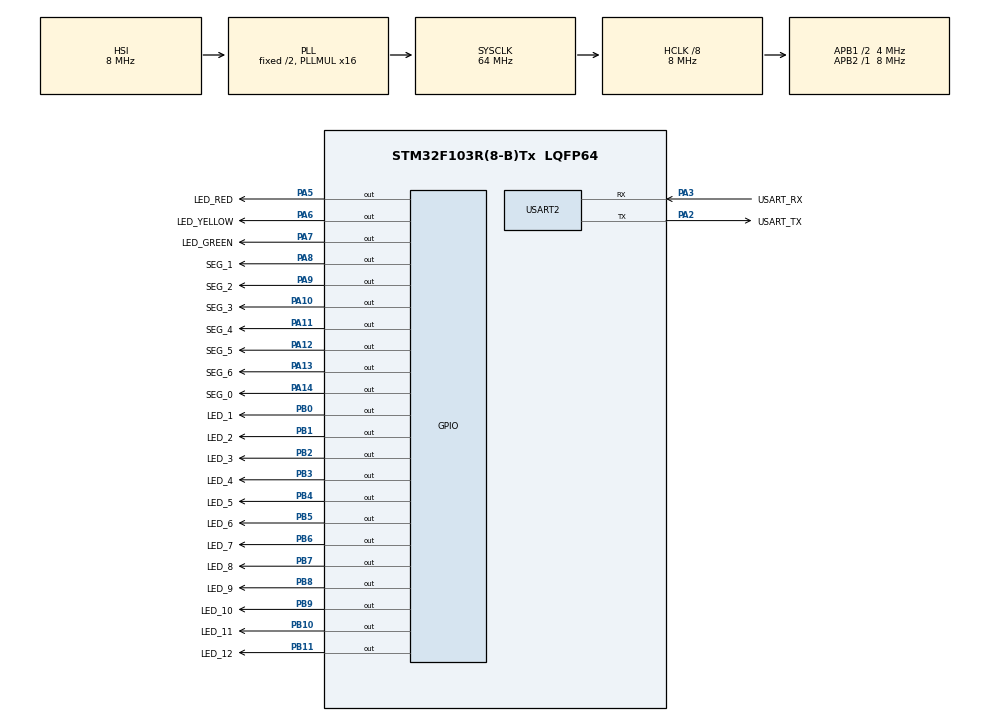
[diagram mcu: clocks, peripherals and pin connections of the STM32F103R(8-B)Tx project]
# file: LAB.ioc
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Mcu.Family=STM32F1
Mcu.Name=STM32F103R(8-B)Tx
Mcu.Package=LQFP64
NVIC.PriorityGroup=NVIC_PRIORITYGROUP_4
PA10.GPIO_Label=SEG_3
PA10.Signal=GPIO_Output
PA11.GPIO_Label=SEG_4
PA11.Signal=GPIO_Output
PA12.GPIO_Label=SEG_5
PA12.Signal=GPIO_Output
PA13.GPIO_Label=SEG_6
PA13.Signal=GPIO_Output
PA14.GPIO_Label=SEG_0
PA14.Signal=GPIO_Output
PA2.GPIO_Label=USART_TX
PA2.GPIO_Mode=GPIO_MODE_AF_PP
PA2.GPIO_PuPd=GPIO_NOPULL
PA2.GPIO_Speed=GPIO_SPEED_FREQ_LOW
PA2.Mode=Asynchronous
PA2.Signal=USART2_TX
PA3.GPIO_Label=USART_RX
PA3.GPIO_Mode=GPIO_MODE_AF_PP
PA3.GPIO_PuPd=GPIO_NOPULL
PA3.GPIO_Speed=GPIO_SPEED_FREQ_LOW
PA3.Mode=Asynchronous
PA3.Signal=USART2_RX
PA5.GPIO_Label=LED_RED
PA5.Signal=GPIO_Output
PA6.GPIO_Label=LED_YELLOW
PA6.Signal=GPIO_Output
PA7.GPIO_Label=LED_GREEN
PA7.Signal=GPIO_Output
PA8.GPIO_Label=SEG_1
PA8.Signal=GPIO_Output
PA9.GPIO_Label=SEG_2
PA9.Signal=GPIO_Output
PB0.GPIO_Label=LED_1
PB0.Signal=GPIO_Output
PB1.GPIO_Label=LED_2
PB1.Signal=GPIO_Output
PB10.GPIO_Label=LED_11
PB10.Signal=GPIO_Output
PB11.GPIO_Label=LED_12
PB11.Signal=GPIO_Output
PB2.GPIO_Label=LED_3
PB2.Signal=GPIO_Output
PB3.GPIO_Label=LED_4
PB3.Signal=GPIO_Output
PB4.GPIO_Label=LED_5
PB4.Signal=GPIO_Output
PB5.GPIO_Label=LED_6
PB5.Signal=GPIO_Output
PB6.GPIO_Label=LED_7
PB6.Signal=GPIO_Output
PB7.GPIO_Label=LED_8
PB7.Signal=GPIO_Output
PB8.GPIO_Label=LED_9
PB8.Signal=GPIO_Output
PB9.GPIO_Label=LED_10
PB9.Signal=GPIO_Output
PC14-OSC32_IN.Signal=RCC_OSC32_IN
PC15-OSC32_OUT.Signal=RCC_OSC32_OUT
PD0-OSC_IN.Signal=RCC_OSC_IN
PD1-OSC_OUT.Signal=RCC_OSC_OUT
ProjectManager.HeapSize=0x200
ProjectManager.StackSize=0x400
ProjectManager.TargetToolchain=STM32CubeIDE
RCC.AHBCLKDivider=RCC_SYSCLK_DIV8
RCC.AHBFreq_Value=8000000
RCC.APB1CLKDivider=RCC_HCLK_DIV2
RCC.APB1Freq_Value=4000000
RCC.APB1TimFreq_Value=8000000
RCC.APB2Freq_Value=8000000
RCC.APB2TimFreq_Value=8000000
RCC.HCLKFreq_Value=8000000
RCC.PLLMUL=RCC_PLL_MUL16
RCC.RTCClockSelection=RCC_RTCCLKSOURCE_LSE
RCC.SYSCLKFreq_VALUE=64000000
RCC.SYSCLKSource=RCC_SYSCLKSOURCE_PLLCLK
RCC.USBFreq_Value=64000000
USART2.VirtualMode=VM_ASYNC
VP_SYS_VS_ND.Mode=No_Debug
board=NUCLEO-F103RB

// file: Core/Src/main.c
/* USER CODE BEGIN Header */
/**
  ******************************************************************************
  * @file           : main.c
  * @brief          : Main program body
  ******************************************************************************
  * @attention
  *
  * Copyright (c) 2024 STMicroelectronics.
  * All rights reserved.
  *
  * This software is licensed under terms that can be found in the LICENSE file
  * in the root directory of this software component.
  * If no LICENSE file comes with this software, it is provided AS-IS.
  *
  ******************************************************************************
  */
/* USER CODE END Header */
#include "main.h"

UART_HandleTypeDef huart2;

void SystemClock_Config(void);
static void MX_GPIO_Init(void);
static void MX_USART2_UART_Init(void);

/* USER CODE BEGIN 0 */
int hour_num = 3;
int minute_num = 59;
int second_num = 50;

int *hour = &hour_num;
int *minute = &minute_num;
int *second = &second_num;

void exercise1() {
	HAL_GPIO_TogglePin(GPIOA, LED_RED_Pin);
	HAL_Delay(2000);
	HAL_GPIO_TogglePin(GPIOA, LED_YELLOW_Pin);
}
void exercise2() {
	static uint8_t count = 0;
	if (count <= 5) {
		HAL_GPIO_WritePin(GPIOA, LED_RED_Pin, GPIO_PIN_SET);
		HAL_GPIO_WritePin(GPIOA, LED_YELLOW_Pin, GPIO_PIN_RESET);
		HAL_GPIO_WritePin(GPIOA, LED_GREEN_Pin, GPIO_PIN_RESET);
	} else if (count <= 7) {
		HAL_GPIO_WritePin(GPIOA, LED_RED_Pin, GPIO_PIN_RESET);
		HAL_GPIO_WritePin(GPIOA, LED_YELLOW_Pin, GPIO_PIN_SET);
		HAL_GPIO_WritePin(GPIOA, LED_GREEN_Pin, GPIO_PIN_RESET);
	} else if (count <= 10) {
		HAL_GPIO_WritePin(GPIOA, LED_RED_Pin, GPIO_PIN_RESET);
		HAL_GPIO_WritePin(GPIOA, LED_YELLOW_Pin, GPIO_PIN_RESET);
		HAL_GPIO_WritePin(GPIOA, LED_GREEN_Pin, GPIO_PIN_SET);
	} else {
		count = 0;
	}
	count++;
	HAL_Delay(1000);
}

void set_light(GPIO_TypeDef *GPIOx, uint16_t red, uint16_t yellow,
		uint16_t green, uint8_t state) {
	if (state == 0) {
		HAL_GPIO_WritePin(GPIOx, red, GPIO_PIN_SET);
		HAL_GPIO_WritePin(GPIOx, yellow | green,
				GPIO_PIN_RESET);
	} else if (state == 1) {
		HAL_GPIO_WritePin(GPIOx, yellow, GPIO_PIN_SET);
		HAL_GPIO_WritePin(GPIOx, red | green, GPIO_PIN_RESET);
	} else if (state == 2) {
		HAL_GPIO_WritePin(GPIOx, green, GPIO_PIN_SET);
		HAL_GPIO_WritePin(GPIOx, red | yellow, GPIO_PIN_RESET);
	}
}
void led_off() {
	/*Configure GPIO pin Output Level */
	HAL_GPIO_WritePin(GPIOA,
			LED_RED_Pin | LED_YELLOW_Pin | LED_GREEN_Pin | SEG_1_Pin | SEG_2_Pin
					| SEG_3_Pin | SEG_4_Pin | SEG_5_Pin | SEG_6_Pin,
			GPIO_PIN_SET);

	/*Configure GPIO pin Output Level */
	HAL_GPIO_WritePin(GPIOB,
			LED_1_Pin | LED_2_Pin | LED_3_Pin | LED_11_Pin | LED_12_Pin
					| LED_4_Pin | LED_5_Pin | LED_6_Pin | LED_7_Pin | LED_8_Pin
					| LED_9_Pin | LED_10_Pin, GPIO_PIN_RESET);
}
void exercise3() {
	static uint8_t count = 0;
	static uint8_t state = 0;
	static uint8_t direction = 0;

	led_off();

	if (direction == 0) {
		set_light(GPIOC, LED_11_Pin, LED_12_Pin,
		LED_1_Pin, state);
	} else if (direction == 1) {
		set_light(GPIOC, LED_2_Pin, LED_3_Pin,
		LED_4_Pin, state);
	} else if (direction == 2) {
		set_light(GPIOC, LED_5_Pin, LED_6_Pin,
		LED_7_Pin, state);
	} else if (direction == 3) {
		set_light(GPIOC, LED_8_Pin, LED_9_Pin,
		LED_10_Pin, state);
	}

	if (count < 5) {
		state = 0;
	} else if (count < 7) {
		state = 1;
	} else if (count < 10) {
		state = 2;
	} else {
		count = 0;
		direction = (direction + 1) % 4;
	}
	count++;
}

void display7SEG(uint8_t num) {
	HAL_GPIO_WritePin(GPIOA, SEG_0_Pin |
	SEG_1_Pin | SEG_2_Pin | SEG_3_Pin | SEG_4_Pin | SEG_5_Pin | SEG_6_Pin,
			GPIO_PIN_SET);
	switch (num) {
	case 0:
		HAL_GPIO_WritePin(GPIOA,
				SEG_0_Pin | SEG_1_Pin | SEG_2_Pin | SEG_3_Pin | SEG_4_Pin
						| SEG_5_Pin,
				GPIO_PIN_RESET);
		break;
	case 1:
		HAL_GPIO_WritePin(GPIOA, SEG_1_Pin | SEG_2_Pin, GPIO_PIN_RESET);
		break;
	case 2:
		HAL_GPIO_WritePin(GPIOA,
				SEG_0_Pin | SEG_1_Pin | SEG_3_Pin | SEG_4_Pin | SEG_6_Pin,
				GPIO_PIN_RESET);
		break;
	case 3:
		HAL_GPIO_WritePin(GPIOA,
		SEG_0_Pin | SEG_1_Pin | SEG_2_Pin | SEG_3_Pin | SEG_6_Pin,
				GPIO_PIN_RESET);
		break;
	case 4:
		HAL_GPIO_WritePin(GPIOA,
		SEG_1_Pin | SEG_2_Pin | SEG_5_Pin | SEG_6_Pin, GPIO_PIN_RESET);
		break;
	case 5:
		HAL_GPIO_WritePin(GPIOA,
				SEG_0_Pin | SEG_2_Pin | SEG_3_Pin | SEG_5_Pin | SEG_6_Pin,
				GPIO_PIN_RESET);
		break;
	case 6:
		HAL_GPIO_WritePin(GPIOA,
		SEG_0_Pin | SEG_2_Pin | SEG_3_Pin | SEG_4_Pin | SEG_5_Pin
						| SEG_6_Pin,
				GPIO_PIN_RESET);
		break;
	case 7:
		HAL_GPIO_WritePin(GPIOA, SEG_0_Pin | SEG_1_Pin | SEG_2_Pin,
				GPIO_PIN_RESET);
		break;
	case 8:
		HAL_GPIO_WritePin(GPIOA,
				SEG_0_Pin | SEG_1_Pin | SEG_2_Pin | SEG_3_Pin | SEG_4_Pin
						| SEG_5_Pin | SEG_6_Pin, GPIO_PIN_RESET);
		break;
	case 9:
		HAL_GPIO_WritePin(GPIOA,
				SEG_0_Pin | SEG_1_Pin | SEG_2_Pin | SEG_3_Pin | SEG_5_Pin
						| SEG_6_Pin,
				GPIO_PIN_RESET);
		break;
	default:
		//HAL_GPIO_WritePin(SEG_PORT, SEG_A_Pin | SEG_B_Pin | SEG_C_Pin | SEG_D_Pin |SEG_E_Pin | SEG_F_Pin | SEG_G_Pin, GPIO_PIN_RESET);
		break;
	}
}
void exercise5() {
	static uint8_t count = 0;
	static uint8_t state1 = 0;
	static uint8_t state2 = 0;

	if (count < 5) { //  do 1 //xanh 2
		state1 = 0;
		state2 = 2;
	} else if (count < 7) { //vang 1 //xanh 2
		state1 = 1;
		state2 = 2;
	} else if (count < 12) { // xanh 1 // do 2
		state1 = 2;
		state2 = 0;
	} else if (count < 14) { // xanh 1 // vang 2
		state1 = 2;
		state2 = 1;
	} else {
		count = 0;
	}

	set_light(GPIOB, LED_11_Pin, LED_12_Pin, LED_1_Pin, state1);
	set_light(GPIOB, LED_5_Pin, LED_6_Pin, LED_7_Pin, state1);

	set_light(GPIOB, LED_2_Pin, LED_3_Pin, LED_4_Pin, state2);
	set_light(GPIOB, LED_8_Pin, LED_9_Pin, LED_10_Pin, state2);

	display7SEG(5 - count % 5);
	count++;
}

void exercise6() {
	HAL_GPIO_WritePin(GPIOC,
			LED_1_Pin | LED_2_Pin | LED_3_Pin | LED_4_Pin | LED_5_Pin
					| LED_6_Pin | LED_7_Pin | LED_8_Pin | LED_9_Pin | LED_10_Pin
					| LED_11_Pin | LED_12_Pin, GPIO_PIN_RESET);
}
void clearAllClock() {
	HAL_GPIO_WritePin(GPIOC,
			LED_1_Pin | LED_2_Pin | LED_3_Pin | LED_4_Pin | LED_5_Pin
					| LED_6_Pin | LED_7_Pin | LED_8_Pin | LED_9_Pin | LED_10_Pin
					| LED_11_Pin | LED_12_Pin, GPIO_PIN_SET);
}
void setNumberOnClock(int num) {
	switch (num) {
	case 0:
		HAL_GPIO_WritePin(GPIOB, LED_12_Pin, GPIO_PIN_SET);
		break;
	case 1:
		HAL_GPIO_WritePin(GPIOB, LED_1_Pin, GPIO_PIN_SET);
		break;
	case 2:
		HAL_GPIO_WritePin(GPIOB, LED_2_Pin, GPIO_PIN_SET);
		break;
	case 3:
		HAL_GPIO_WritePin(GPIOB, LED_3_Pin, GPIO_PIN_SET);
		break;
	case 4:
		HAL_GPIO_WritePin(GPIOB, LED_4_Pin, GPIO_PIN_SET);
		break;
	case 5:
		HAL_GPIO_WritePin(GPIOB, LED_5_Pin, GPIO_PIN_SET);
		break;
	case 6:
		HAL_GPIO_WritePin(GPIOB, LED_6_Pin, GPIO_PIN_SET);
		break;
	case 7:
		HAL_GPIO_WritePin(GPIOB, LED_7_Pin, GPIO_PIN_SET);
		break;
	case 8:
		HAL_GPIO_WritePin(GPIOB, LED_8_Pin, GPIO_PIN_SET);
		break;
	case 9:
		HAL_GPIO_WritePin(GPIOB, LED_9_Pin, GPIO_PIN_SET);
		break;
	case 10:
		HAL_GPIO_WritePin(GPIOB, LED_10_Pin, GPIO_PIN_SET);
		break;
	case 11:
		HAL_GPIO_WritePin(GPIOB, LED_11_Pin, GPIO_PIN_SET);
		break;
	default:
		break;
	}
}
void exercis9(int num) {
	switch (num) {
	case 0:
		HAL_GPIO_WritePin(GPIOB, LED_12_Pin, GPIO_PIN_RESET);
		break;
	case 1:
		HAL_GPIO_WritePin(GPIOB, LED_1_Pin, GPIO_PIN_RESET);
		break;
	case 2:
		HAL_GPIO_WritePin(GPIOB, LED_2_Pin, GPIO_PIN_RESET);
		break;
	case 3:
		HAL_GPIO_WritePin(GPIOB, LED_3_Pin, GPIO_PIN_RESET);
		break;
	case 4:
		HAL_GPIO_WritePin(GPIOB, LED_4_Pin, GPIO_PIN_RESET);
		break;
	case 5:
		HAL_GPIO_WritePin(GPIOB, LED_5_Pin, GPIO_PIN_RESET);
		break;
	case 6:
		HAL_GPIO_WritePin(GPIOB, LED_6_Pin, GPIO_PIN_RESET);
		break;
	case 7:
		HAL_GPIO_WritePin(GPIOB, LED_7_Pin, GPIO_PIN_RESET);
		break;
	case 8:
		HAL_GPIO_WritePin(GPIOB, LED_8_Pin, GPIO_PIN_RESET);
		break;
	case 9:
		HAL_GPIO_WritePin(GPIOB, LED_9_Pin, GPIO_PIN_RESET);
		break;
	case 10:
		HAL_GPIO_WritePin(GPIOB, LED_10_Pin, GPIO_PIN_RESET);
		break;
	case 11:
		HAL_GPIO_WritePin(GPIOB, LED_11_Pin, GPIO_PIN_RESET);
		break;
	default:
		break;
	}
}
void exercis10(int *hour, int *minute, int *second) {
	if (*second >= 60) {
		exercis9((*second - 5) / 5);
		(*second) = 0;
		(*minute)++;
	}
	setNumberOnClock((*second) / 5);
	if (*second / 5 != (*minute) / 5 + 1 && (*second) / 5 != (*hour) + 1) {
		exercis9(((*second) - 5) / 5);
	}

	if ((*minute) >= 60) {
		exercis9(((*minute) - 5) / 5);
		(*minute) = 0;
		(*hour)++;
	}
	setNumberOnClock((*minute) / 5);
	if (*minute / 5 != (*second) / 5 + 1 && (*second) / 5 != (*hour) + 1) {
		exercis9(((*minute) - 5) / 5);
	}

	if (*hour >= 12) {
		exercis9((*hour) - 1);
		(*hour) = 0;
		(*minute) = 0;
		*second = 0;
	}
	setNumberOnClock(*hour);
	if ((*hour) != (*minute) / 5 + 1 && (*hour) != (*second) / 5 + 1) {
		exercis9((*hour) - 1);
	}
	(*second)++;
}
/* USER CODE END 0 */

int main(void)
{

  /* MCU Configuration--------------------------------------------------------*/

  /* Reset of all peripherals, Initializes the Flash interface and the Systick. */
  HAL_Init();

  /* Configure the system clock */
  SystemClock_Config();

  /* Initialize all configured peripherals */
  MX_GPIO_Init();
  MX_USART2_UART_Init();
  /* USER CODE BEGIN 2 */
	clearAllClock();
	//led_off();
  /* USER CODE END 2 */

  /* Infinite loop */
  while (1)
  {

    /* USER CODE BEGIN 3 */
		//exercise5();
		exercis10(hour, minute, second);
		HAL_Delay(100);
  }
  /* USER CODE END 3 */
}

void SystemClock_Config(void)
{
  RCC_OscInitTypeDef RCC_OscInitStruct = {0};
  RCC_ClkInitTypeDef RCC_ClkInitStruct = {0};

  /** Initializes the RCC Oscillators according to the specified parameters
  * in the RCC_OscInitTypeDef structure.
  */
  RCC_OscInitStruct.OscillatorType = RCC_OSCILLATORTYPE_HSI;
  RCC_OscInitStruct.HSIState = RCC_HSI_ON;
  RCC_OscInitStruct.HSICalibrationValue = RCC_HSICALIBRATION_DEFAULT;
  RCC_OscInitStruct.PLL.PLLState = RCC_PLL_ON;
  RCC_OscInitStruct.PLL.PLLSource = RCC_PLLSOURCE_HSI_DIV2;
  RCC_OscInitStruct.PLL.PLLMUL = RCC_PLL_MUL16;
  if (HAL_RCC_OscConfig(&RCC_OscInitStruct) != HAL_OK)
  {
    Error_Handler();
  }

  /** Initializes the CPU, AHB and APB buses clocks
  */
  RCC_ClkInitStruct.ClockType = RCC_CLOCKTYPE_HCLK|RCC_CLOCKTYPE_SYSCLK
                              |RCC_CLOCKTYPE_PCLK1|RCC_CLOCKTYPE_PCLK2;
  RCC_ClkInitStruct.SYSCLKSource = RCC_SYSCLKSOURCE_PLLCLK;
  RCC_ClkInitStruct.AHBCLKDivider = RCC_SYSCLK_DIV8;
  RCC_ClkInitStruct.APB1CLKDivider = RCC_HCLK_DIV2;
  RCC_ClkInitStruct.APB2CLKDivider = RCC_HCLK_DIV1;

  if (HAL_RCC_ClockConfig(&RCC_ClkInitStruct, FLASH_LATENCY_2) != HAL_OK)
  {
    Error_Handler();
  }
}

static void MX_USART2_UART_Init(void)
{

  huart2.Instance = USART2;
  huart2.Init.BaudRate = 115200;
  huart2.Init.WordLength = UART_WORDLENGTH_8B;
  huart2.Init.StopBits = UART_STOPBITS_1;
  huart2.Init.Parity = UART_PARITY_NONE;
  huart2.Init.Mode = UART_MODE_TX_RX;
  huart2.Init.HwFlowCtl = UART_HWCONTROL_NONE;
  huart2.Init.OverSampling = UART_OVERSAMPLING_16;
  if (HAL_UART_Init(&huart2) != HAL_OK)
  {
    Error_Handler();
  }

}

static void MX_GPIO_Init(void)
{
  GPIO_InitTypeDef GPIO_InitStruct = {0};

  /* GPIO Ports Clock Enable */
  __HAL_RCC_GPIOC_CLK_ENABLE();
  __HAL_RCC_GPIOD_CLK_ENABLE();
  __HAL_RCC_GPIOA_CLK_ENABLE();
  __HAL_RCC_GPIOB_CLK_ENABLE();

  /*Configure GPIO pin Output Level */
  HAL_GPIO_WritePin(GPIOA, LED_RED_Pin|LED_YELLOW_Pin|LED_GREEN_Pin|SEG_1_Pin
                          |SEG_2_Pin|SEG_3_Pin|SEG_4_Pin|SEG_5_Pin
                          |SEG_6_Pin|SEG_0_Pin, GPIO_PIN_RESET);

  /*Configure GPIO pin Output Level */
  HAL_GPIO_WritePin(GPIOB, LED_1_Pin|LED_2_Pin|LED_3_Pin|LED_11_Pin
                          |LED_12_Pin|LED_4_Pin|LED_5_Pin|LED_6_Pin
                          |LED_7_Pin|LED_8_Pin|LED_9_Pin|LED_10_Pin, GPIO_PIN_RESET);

  /*Configure GPIO pins : LED_RED_Pin LED_YELLOW_Pin LED_GREEN_Pin SEG_1_Pin
                           SEG_2_Pin SEG_3_Pin SEG_4_Pin SEG_5_Pin
                           SEG_6_Pin SEG_0_Pin */
  GPIO_InitStruct.Pin = LED_RED_Pin|LED_YELLOW_Pin|LED_GREEN_Pin|SEG_1_Pin
                          |SEG_2_Pin|SEG_3_Pin|SEG_4_Pin|SEG_5_Pin
                          |SEG_6_Pin|SEG_0_Pin;
  GPIO_InitStruct.Mode = GPIO_MODE_OUTPUT_PP;
  GPIO_InitStruct.Pull = GPIO_NOPULL;
  GPIO_InitStruct.Speed = GPIO_SPEED_FREQ_LOW;
  HAL_GPIO_Init(GPIOA, &GPIO_InitStruct);

  /*Configure GPIO pins : LED_1_Pin LED_2_Pin LED_3_Pin LED_11_Pin
                           LED_12_Pin LED_4_Pin LED_5_Pin LED_6_Pin
                           LED_7_Pin LED_8_Pin LED_9_Pin LED_10_Pin */
  GPIO_InitStruct.Pin = LED_1_Pin|LED_2_Pin|LED_3_Pin|LED_11_Pin
                          |LED_12_Pin|LED_4_Pin|LED_5_Pin|LED_6_Pin
                          |LED_7_Pin|LED_8_Pin|LED_9_Pin|LED_10_Pin;
  GPIO_InitStruct.Mode = GPIO_MODE_OUTPUT_PP;
  GPIO_InitStruct.Pull = GPIO_NOPULL;
  GPIO_InitStruct.Speed = GPIO_SPEED_FREQ_LOW;
  HAL_GPIO_Init(GPIOB, &GPIO_InitStruct);

}

void Error_Handler(void)
{
  __disable_irq();
  while (1)
  {
  }
}
